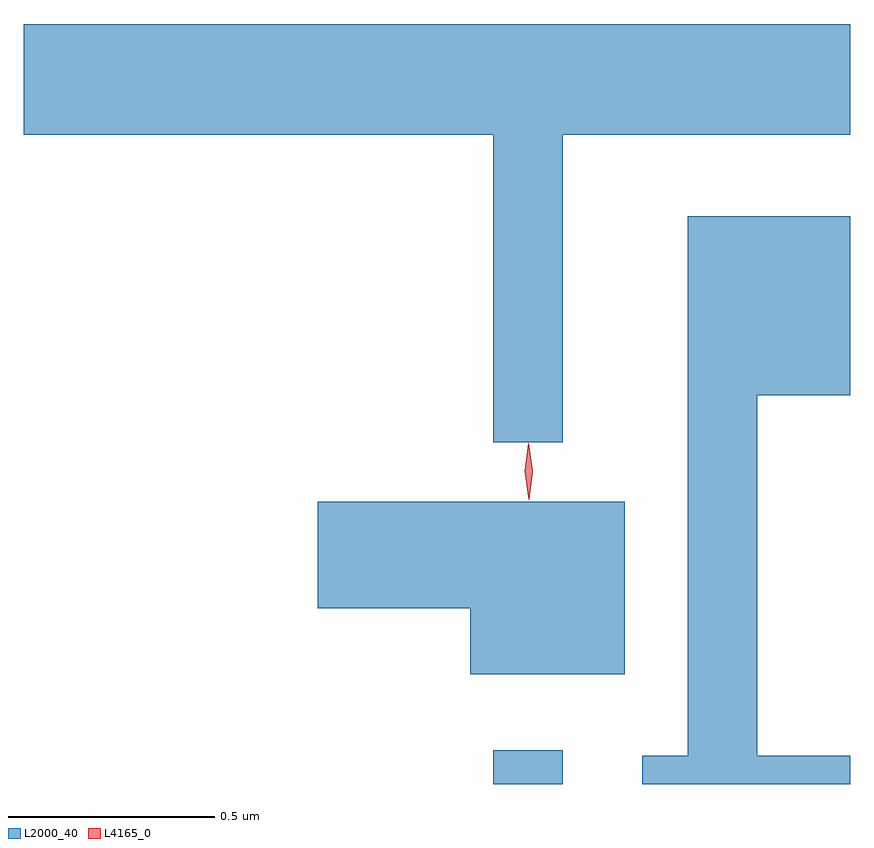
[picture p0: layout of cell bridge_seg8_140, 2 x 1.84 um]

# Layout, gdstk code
import gdstk
lib = gdstk.Library(unit=1e-6, precision=1e-09)
def R(c, l, rs):  # rectangles x0, y0, x1, y1
    for r in rs: c.add(gdstk.rectangle(r[:2], r[2:], *l))
def P(c, l, *ps):  # polygons
    for p in ps: c.add(gdstk.Polygon(p, *l))
L2000_40 = (2000, 40)
L4165_0 = (4165, 0)

bridge_seg8_140 = lib.new_cell('bridge_seg8_140')
R(bridge_seg8_140, L2000_40, [(1791.181,1819.306,1791.349,1819.388)])
P(bridge_seg8_140, L2000_40, [(1791.349,1820.876),(1792.045,1820.876),(1792.045,1821.144),(1790.045,1821.144),(1790.045,1820.876),(1791.181,1820.876),(1791.181,1820.133),(1791.349,1820.133)],
  [(1792.045,1819.374),(1791.819,1819.374),(1791.819,1820.246),(1792.045,1820.246),(1792.045,1820.679),(1791.651,1820.679),(1791.651,1819.374),(1791.541,1819.374),(1791.541,1819.306),(1792.045,1819.306)],
  [(1791.499,1819.989),(1790.756,1819.989),(1790.756,1819.731),(1791.126,1819.731),(1791.126,1819.571),(1791.499,1819.571)])
P(bridge_seg8_140, L4165_0, [(1791.267,1820),(1791.267,1820),(1791.257,1820.063),(1791.266,1820.126),(1791.267,1820.127),(1791.267,1820.126),(1791.277,1820.063),(1791.268,1820)],
  [(1791.267,1819.994),(1791.267,1819.994),(1791.257,1820.062),(1791.266,1820.13),(1791.267,1820.13),(1791.267,1820.13),(1791.277,1820.062),(1791.268,1819.994)])

lib.write_gds('bridge_seg8_140.gds')
